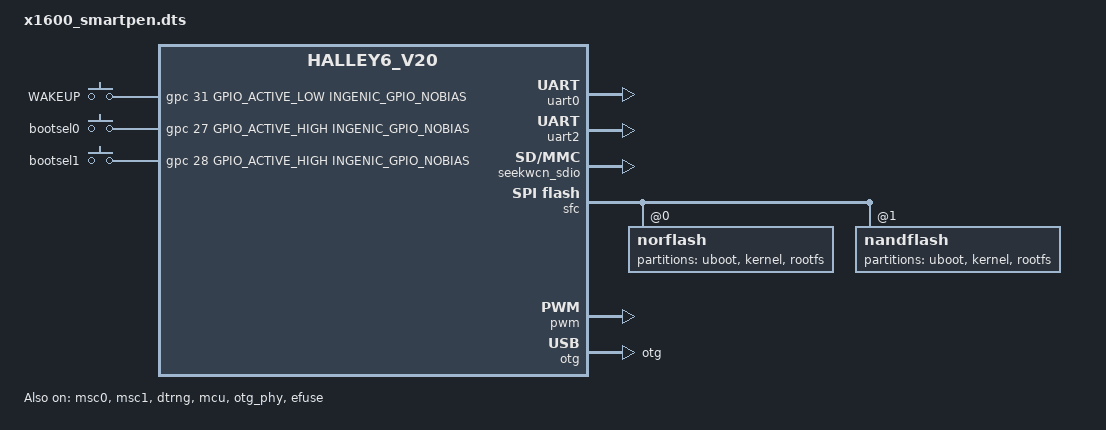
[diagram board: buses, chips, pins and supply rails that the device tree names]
/dts-v1/;

#include <dt-bindings/input/input.h>
#include <dt-bindings/interrupt-controller/irq.h>
#include <dt-bindings/dts-stage/x1600/x1600.dtsi>
#include <generated/autoconf.h>

/ {
	compatible = "ingenic,halley6_v20", "ingenic,halley6_v20";

	/*chosen {
		bootargs = "console=ttyS1,115200 mem=128M@0x0 ip=off init=/linuxrc ubi.mtd=3 root=ubi0:rootfs ubi.mtd=4 rootfstype=ubifs rw";
	};*/

	reserved-memory {
		#address-cells = <1>;
		#size-cells = <1>;
		ranges =<>;

		/*
			reserved_mem:
			riscv_mcu_ram:
			vdev0buffer:
			预留内存大小与芯片ddr容量相关，系统启动会自动选择上面不同容量的配置。
			此处 reg <0 0>会被动态修改.
		*/
		reserved_memory: reserved_mem {
		      compatible = "shared-dma-pool";
		      reg-32M = <0x01d00000 0x300000>;
		      reg-64M = <0x03d00000 0x300000>;
		      reg-128M = <0x07d00000 0x300000>;
		};
	};
	seekwcn_boot:seekwcn_boot {
		    status = "okay";
		    compatible = "seekwave,sv6160lite";
		    dma_type = <1>;/*1:ADMA,2:SDMA*/
	};

};

&pinctrl{
	console_uart2_pb: console-uart2-pb {
		ingenic,pinmux = <&gpb 0 1>;
		ingenic,pinmux-funcsel = <PINCTL_FUNCTION1>;
		ingenic,pincfg = <&gpb 0 1 PINCFG_PACK(PINCTL_CFG_BIAS_PULL_PIN_DEFAULT, 1)>;
	};
};

&uart0 {
	status = "okay";
	pinctrl-names = "default";
	pinctrl-0 = <&uart0_pb>;
};

&uart2 {
	status = "okay";
	pinctrl-names = "default";
	pinctrl-0 = <&console_uart2_pb>;
};

&uart3 {
	status = "disable";
};

&pdma {
	status = "okay";
};

&msc0 {
	status = "okay";
	pinctrl-names ="default";
	pinctrl-0 = <&msc0_4bit_f0>;
	cap-sd-highspeed;
	cd-inverted;
	max-frequency = <50000000>;
	bus-width = <4>;
	voltage-ranges = <1800 3300>;
	ingenic,sdio_clk = <0>;

	ingneic,pwr-gpios = <&gpa 6 GPIO_ACTIVE_HIGH INGENIC_GPIO_NOBIAS>;
};

&msc1 {
	status = "okay";
	pinctrl-names ="default";
	pinctrl-0 = <&msc1_4bit>;

	cap-sdio-irq;
	cap-sd-highspeed;
	max-frequency = <50000000>;
	bus-width = <4>;
	voltage-ranges = <1800 3300>;

	ingenic,sdio_clk = <1>;
	keep-power-in-suspend;
	ingenic,removal-manual;

	seekwcn_sdio: seekwcn_sdio {
		 compatible = "seekwave,swt6621_wlan";
		 ingenic,sdio-reset = <&gpa 31 GPIO_ACTIVE_LOW INGENIC_GPIO_NOBIAS>;
	};
};

&sfc {
	status = "okay";
	pinctrl-names = "default";
	pinctrl-0 = <&sfc_pc>;
	ingenic,sfc-init-frequency = <200000000>;
	ingenic,sfc-max-frequency = <400000000>;
	ingenic,use_ofpart_info  = /bits/ 8 <0>;
	ingenic,spiflash_param_offset = <0>;

	norflash@0 {
		partitions {
			compatible = "fixed-partitions";
			#address-cells = <1>;
			#size-cells = <1>;

			/* spi nor flash partition */
			uboot@0 {
				label = "uboot";
				reg = <0x0000000 0x40000>;
				/*read-only;*/
			};

			kernel@40000 {
				label = "kernel";
				reg = <0x40000 0x300000>;
			};

			rootfs@360000 {
				label = "rootfs";
				reg = <0x360000 0xca0000>;
			};
		};
	};

	nandflash@1 {
		partitions {
			compatible = "fixed-partitions";
			#address-cells = <1>;
			#size-cells = <1>;

			/* spi nand flash partition */
			partition@0 {
				label = "uboot";
				reg = <0x0000000 0x100000>;
				/*read-only;*/
			};

			partition@100000 {
				label = "kernel";
				reg = <0x100000 0x800000>;
			};

			partition@900000 {
				label = "rootfs";
				reg = <0x900000 0xf700000>;
			};
		};
	};

};

&spi_slv0 {
	status = "disable";
	pinctrl-names = "default";
	pinctrl-0 = <&spi_slv_pa>;
	ingenic,has_dma_support = <1>;
};

&dtrng {
	status = "okay";
};

&mcu {
    status = "okay";
};

&pwm {
	status = "okay";
	pinctrl-names = "default";
	pinctrl-0 = <&pwm5_pc>;
};

&otg {
	dr_mode = "otg"; // host,peripheral,otg
	device-using-dma = <1>;
	status = "okay";
};

&otg_phy {
	status = "okay";
	enable-vbus-wakeup;
	ingenic,vbus-dete-gpio = <&gpc 24 GPIO_ACTIVE_HIGH INGENIC_GPIO_NOBIAS>;
};

&efuse {
	status = "okay";
};


/ {

	extclk: extclk {
		clock-frequency = <24000000>;
		};
	gpio_keys: gpio_keys {
		   compatible = "gpio-keys";

		   wakeup {
			   label = "WAKEUP";
			   linux,code = <KEY_WAKEUP>;
			   gpios = <&gpc 31 GPIO_ACTIVE_LOW INGENIC_GPIO_NOBIAS>;
			   gpio-key,wakeup;
		   };

		   bootsel0 {
			   label = "bootsel0";
			   linux,code = <KEY_ENTER>;
			   gpios = <&gpc 27 GPIO_ACTIVE_HIGH INGENIC_GPIO_NOBIAS>;
		   };

		   bootsle1 {
			   label = "bootsel1";
			   linux,code = <KEY_BACK>;
			   gpios = <&gpc 28 GPIO_ACTIVE_HIGH INGENIC_GPIO_NOBIAS>;
		   };

	   };

};


&gpa {
	ingenic,gpio-sleep-pullup 	= <>;
	ingenic,gpio-sleep-pulldown 	= <>;
	ingenic,gpio-sleep-hiz		= <>;
	ingenic,gpio-sleep-low		= <>;
	ingenic,gpio-sleep-high		= <>;
};

&gpb {
	ingenic,gpio-sleep-pullup 	= <>;
	ingenic,gpio-sleep-pulldown 	= <>;
	ingenic,gpio-sleep-hiz		= <>;
	ingenic,gpio-sleep-low		= <>;
	ingenic,gpio-sleep-high		= <>;
};

&gpc {
	ingenic,gpio-sleep-pullup 	= <>;
	ingenic,gpio-sleep-pulldown 	= <>;
	ingenic,gpio-sleep-hiz		= <>;
	ingenic,gpio-sleep-low		= <>;
	ingenic,gpio-sleep-high		= <>;
};

&gpd {
 	ingenic,gpio-sleep-pullup 	= <>;
	ingenic,gpio-sleep-pulldown 	= <>;
	ingenic,gpio-sleep-hiz		= <>;
	ingenic,gpio-sleep-low		= <>;
	ingenic,gpio-sleep-high		= <>;
};
